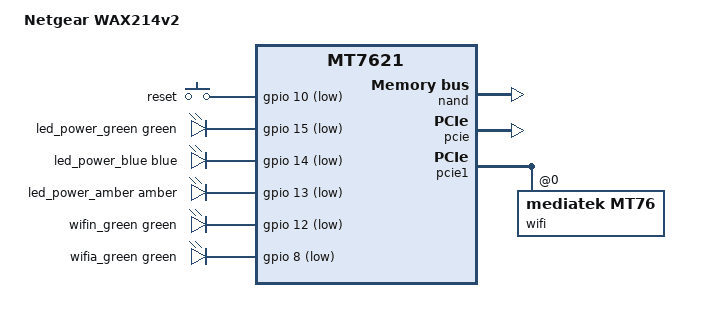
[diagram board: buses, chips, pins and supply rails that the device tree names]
// SPDX-License-Identifier: GPL-2.0-or-later OR MIT

#include "mt7621.dtsi"

#include <dt-bindings/gpio/gpio.h>
#include <dt-bindings/input/input.h>
#include <dt-bindings/leds/common.h>

/ {
	compatible = "netgear,wax214v2", "mediatek,mt7621-soc";
	model = "Netgear WAX214v2";

	aliases {
		led-boot = &led_power_green;
		led-failsafe = &led_power_amber;
		led-running = &led_power_green;
		led-upgrade = &led_power_blue;
	};

	chosen {
		bootargs = "console=ttyS0,115200";
	};

	keys {
		compatible = "gpio-keys";

		reset {
			label = "reset";
			gpios = <&gpio 10 GPIO_ACTIVE_LOW>;
			linux,code = <KEY_RESTART>;
		};
	};

	leds {
		compatible = "gpio-leds";

		led_power_green: power_green {
			function = LED_FUNCTION_POWER;
			color = <LED_COLOR_ID_GREEN>;
			gpios = <&gpio 15 GPIO_ACTIVE_LOW>;
		};

		led_power_blue: power_blue {
			function = LED_FUNCTION_POWER;
			color = <LED_COLOR_ID_BLUE>;
			gpios = <&gpio 14 GPIO_ACTIVE_LOW>;
		};

		led_power_amber: power_amber {
			function = LED_FUNCTION_POWER;
			color = <LED_COLOR_ID_AMBER>;
			gpios = <&gpio 13 GPIO_ACTIVE_LOW>;
		};

		wifin_green {
			function = LED_FUNCTION_WLAN_2GHZ;
			color = <LED_COLOR_ID_GREEN>;
			gpios = <&gpio 12 GPIO_ACTIVE_LOW>;
			linux,default-trigger = "phy0radio";
		};

		wifia_green {
			function = LED_FUNCTION_WLAN_5GHZ;
			color = <LED_COLOR_ID_GREEN>;
			gpios = <&gpio 8 GPIO_ACTIVE_LOW>;
			linux,default-trigger = "phy1radio";
		};
	};
};

&nand {
	status = "okay";

	partitions {
		compatible = "fixed-partitions";
		#address-cells = <1>;
		#size-cells = <1>;

		partition@0 {
			label = "Bootloader";
			reg = <0x0 0x80000>;
			read-only;
		};

		partition@80000 {
			label = "Config";
			reg = <0x80000 0x80000>;
		};

		partition@100000 {
			label = "Factory";
			reg = <0x100000 0x80000>;
			read-only;

			nvmem-layout {
				compatible = "fixed-layout";
				#address-cells = <1>;
				#size-cells = <1>;

				eeprom_factory_0: eeprom@0 {
					reg = <0x0 0xe00>;
				};

				precal_factory_e10: precal@e10 {
					reg = <0xe10 0x19c10>;
				};
			};
		};

		partition@180000 {
			label = "firmware";
			reg = <0x180000 0x2600000>;

			compatible = "fixed-partitions";
			#address-cells = <1>;
			#size-cells = <1>;

			partition@0 {
				label = "kernel";
				reg = <0x0 0x400000>;
			};

			partition@400000 {
				label = "ubi";
				reg = <0x400000 0x2200000>;
			};
		};

		partition@2780000 {
			label = "firmware_backup";
			reg = <0x2780000 0x2600000>;
			read-only;
		};

		partition@4d80000 {
			label = "CFG";
			reg = <0x4d80000 0x800000>;
			read-only;
		};

		partition@5580000 {
			label = "RAE";
			reg = <0x5580000 0x400000>;
			read-only;
		};

		partition@5980000 {
			label = "POT";
			reg = <0x5980000 0x100000>;
			read-only;
		};

		partition@5a80000 {
			label = "Language";
			reg = <0x5a80000 0x400000>;
			read-only;
		};

		partition@5e80000 {
			label = "Traffic";
			reg = <0x5e80000 0x200000>;
			read-only;
		};

		partition@6080000 {
			label = "Cert";
			reg = <0x6080000 0x100000>;
			read-only;
		};

		partition@6180000 {
			label = "NTGRcryptK";
			reg = <0x6180000 0x100000>;
			read-only;
		};

		partition@6280000 {
			label = "NTGRcryptD";
			reg = <0x6280000 0x500000>;
			read-only;
		};

		partition@6780000 {
			label = "LOG";
			reg = <0x6780000 0x100000>;
			read-only;
		};

		partition@6880000 {
			label = "User_data";
			reg = <0x6880000 0x640000>;
			read-only;
		};
	};
};

&pcie {
	status = "okay";
};

&pcie1 {
	wifi@0,0 {
		compatible = "mediatek,mt76";
		reg = <0x0000 0 0 0 0>;
		nvmem-cells = <&eeprom_factory_0>, <&precal_factory_e10>;
		nvmem-cell-names = "eeprom", "precal";
	};
};

&state_default {
	gpio {
		groups = "uart3", "uart2", "jtag";
		function = "gpio";
	};
};

&switch0 {
	ports {
		port@0 {
			status = "okay";
			label = "lan";
		};
	};
};

&xhci {
	status = "disabled";
};
